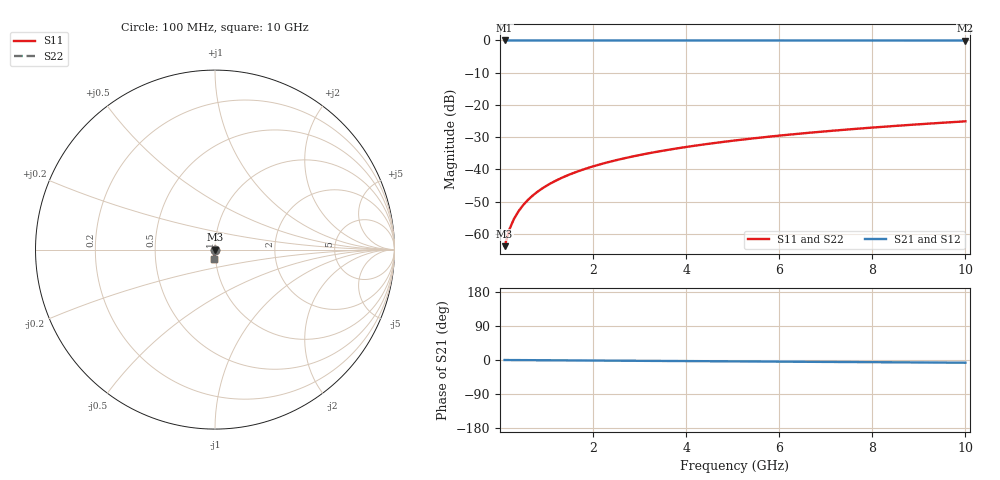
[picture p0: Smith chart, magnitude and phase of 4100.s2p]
# Hz S RI R 50.00
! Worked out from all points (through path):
!   100 points, 100 MHz to 10 GHz, reference 50 ohm
!   highest |S21| = 0.00 dB at 100 MHz (marker M1); lowest = 0.0 dB at 10 GHz (marker M2)
!   lowest |S11| = -63.9 dB at 100 MHz (marker M3), VSWR 1.00, Z = 50 - j0.0555 ohm
!   |S11| at or under -10 dB: start of sweep to end of sweep
!   |S22| runs from -63.9 to -25.1 dB; largest |S21 - S12| = 0
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1e8  0.000322 -0.000555  0.9997 -0.00125  0.9997 -0.00125  0.000322 -0.000555
2e8  0.000321 -0.00111  0.9997 -0.0025  0.9997 -0.0025  0.000321 -0.00111
3e8  0.000318 -0.00166  0.9997 -0.00375  0.9997 -0.00375  0.000318 -0.00166
4e8  0.000314 -0.00222  0.9997 -0.005  0.9997 -0.005  0.000314 -0.00222
5e8  0.000308 -0.00277  0.9996 -0.00625  0.9996 -0.00625  0.000308 -0.00277
6e8  0.0003 -0.00333  0.9996 -0.0075  0.9996 -0.0075  0.0003 -0.00333
7e8  0.000291 -0.00388  0.9996 -0.00875  0.9996 -0.00875  0.000291 -0.00388
8e8  0.000281 -0.00444  0.9996 -0.01  0.9996 -0.01  0.000281 -0.00444
9e8  0.000269 -0.00499  0.9996 -0.0112  0.9996 -0.0112  0.000269 -0.00499
1.1e9  0.000241 -0.0061  0.9995 -0.0137  0.9995 -0.0137  0.000241 -0.0061
1.4e9  0.000188 -0.00777  0.9995 -0.0175  0.9995 -0.0175  0.000188 -0.00777
1.8e9  9.84e-05 -0.00999  0.9993 -0.0225  0.9993 -0.0225  9.84e-05 -0.00999
2.1e9  1.62e-05 -0.0117  0.9992 -0.0262  0.9992 -0.0262  1.62e-05 -0.0117
2.5e9  -0.000113 -0.0139  0.999 -0.0312  0.999 -0.0312  -0.000113 -0.0139
2.9e9  -0.000264 -0.0161  0.9988 -0.0362  0.9988 -0.0362  -0.000264 -0.0161
3.4e9  -0.000485 -0.0189  0.9985 -0.0425  0.9985 -0.0425  -0.000485 -0.0189
4.2e9  -0.000911 -0.0233  0.998 -0.0525  0.998 -0.0525  -0.000911 -0.0233
5.1e9  -0.0015 -0.0283  0.9972 -0.0637  0.9972 -0.0637  -0.0015 -0.0283
5.9e9  -0.00211 -0.0327  0.9963 -0.0737  0.9963 -0.0737  -0.00211 -0.0327
6.7e9  -0.00282 -0.0371  0.9954 -0.0837  0.9954 -0.0837  -0.00282 -0.0371
8.4e9  -0.00461 -0.0464  0.9929 -0.1049  0.9929 -0.1049  -0.00461 -0.0464
1e10  -0.00665 -0.0551  0.9902 -0.1248  0.9902 -0.1248  -0.00665 -0.0551
